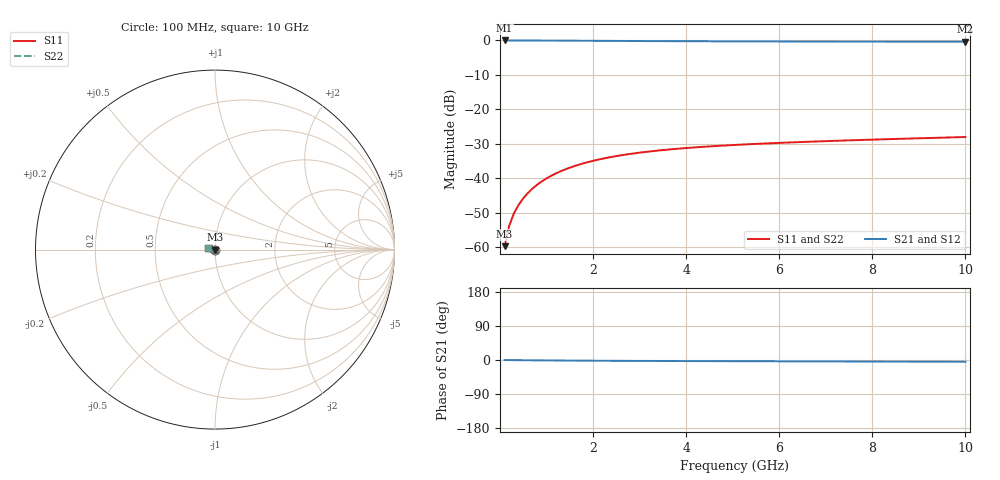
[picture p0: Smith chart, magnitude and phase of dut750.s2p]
! Touchstone file exported from HFSS 2024.1.0
!  File:  C:/UserFiles/LocalFiles/RDL_TSV_Batchsim/temp_TSV1_750_1779871322.aedt
!  Generated:  04:46:16 PM May 27, 2026
!  Design:  TSV1
!  Project:  temp_TSV1_750_1779871322
!  Setup:  Setup1
!  Solution:  Sweep
! Variables:
!  dtsv = 10.25um
!  hbump = 3um
!  htsv = 69.35um
!  lrdl = 252.1521522um
!  p = 40
!  p1 = 57.9um
!  t = 500um
!  trdl = 3um
!  wrdl = 24.89489489um
# GHz S MA R 50.000000
! Terminal data exported
! Port[1] = TSV22_T1
! Port[2] = TSV22_T2
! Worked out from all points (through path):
!   100 points, 100 MHz to 10 GHz, reference 50 ohm
!   highest |S21| = 0.00 dB at 100 MHz (marker M1); lowest = -0.4 dB at 10 GHz (marker M2)
!   lowest |S11| = -59.7 dB at 100 MHz (marker M3), VSWR 1.00, Z = 50 - j0.103 ohm
!   |S11| at or under -10 dB: start of sweep to end of sweep
!   |S22| runs from -59.7 to -28.0 dB; largest |S21 - S12| = 8.5e-15
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0.1  0.001037 -85.2  0.9998 -0.1  0.9998 -0.1  0.001037 -85.2
! Gamma 0 0 0 0
! Port Impedance 50 0 50 0
0.2  0.002063 -90.6  0.9997 -0.2  0.9997 -0.2  0.002063 -90.6
0.3  0.00309 -93.7  0.9995 -0.3  0.9995 -0.3  0.00309 -93.7
0.4  0.004113 -96.4  0.9992 -0.5  0.9992 -0.5  0.004113 -96.4
0.5  0.005127 -98.8  0.9989 -0.6  0.9989 -0.6  0.005127 -98.8
0.6  0.006128 -101.1  0.9985 -0.7  0.9985 -0.7  0.006128 -101.1
0.7  0.007115 -103.4  0.998 -0.8  0.998 -0.8  0.007115 -103.4
0.8  0.008084 -105.5  0.9975 -0.9  0.9975 -0.9  0.008084 -105.5
0.9  0.009034 -107.6  0.9969 -1.0  0.9969 -1.0  0.009034 -107.6
1.1  0.01087 -111.7  0.9956 -1.2  0.9956 -1.2  0.01087 -111.7
1.4  0.01345 -117.6  0.9934 -1.4  0.9934 -1.4  0.01345 -117.6
1.6  0.01505 -121.3  0.9918 -1.6  0.9918 -1.6  0.01505 -121.3
1.8  0.01654 -124.8  0.9902 -1.7  0.9902 -1.7  0.01654 -124.8
2.1  0.0186 -129.8  0.9877 -1.9  0.9877 -1.9  0.0186 -129.8
2.5  0.02101 -136.0  0.9845 -2.2  0.9845 -2.2  0.02101 -136.0
2.9  0.02309 -141.6  0.9815 -2.4  0.9815 -2.4  0.02309 -141.6
3.4  0.02529 -148.0  0.9781 -2.6  0.9781 -2.6  0.02529 -148.0
4.2  0.02812 -156.9  0.9735 -2.9  0.9735 -2.9  0.02812 -156.9
5.1  0.03062 -165.4  0.9696 -3.2  0.9696 -3.2  0.03062 -165.4
6.7  0.03406 -177.6  0.9647 -3.7  0.9647 -3.7  0.03406 -177.6
8.4  0.03708 172.0  0.9614 -4.2  0.9614 -4.2  0.03708 172.0
10  0.03971 163.8  0.9593 -4.7  0.9593 -4.7  0.03971 163.8
